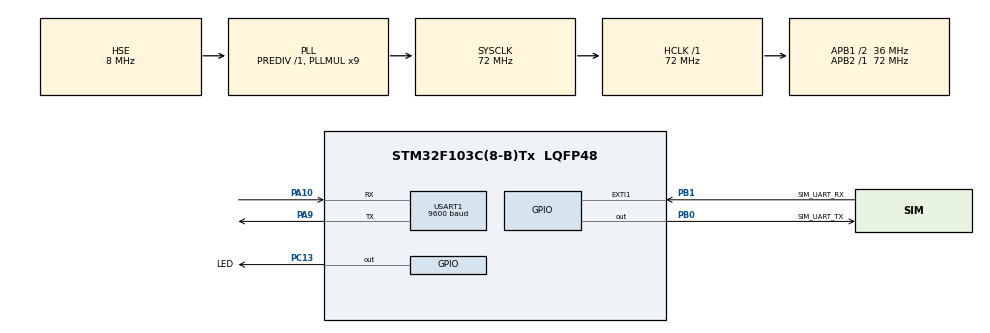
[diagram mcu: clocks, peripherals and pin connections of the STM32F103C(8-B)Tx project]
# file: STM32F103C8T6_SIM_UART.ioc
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Mcu.Family=STM32F1
Mcu.Name=STM32F103C(8-B)Tx
Mcu.Package=LQFP48
NVIC.PriorityGroup=NVIC_PRIORITYGROUP_4
NVIC.TIM4_IRQn=true\:0\:0\:false\:false\:true\:true\:true\:true
PA10.Mode=Asynchronous
PA10.Signal=USART1_RX
PA13.Mode=Serial_Wire
PA13.Signal=SYS_JTMS-SWDIO
PA14.Mode=Serial_Wire
PA14.Signal=SYS_JTCK-SWCLK
PA9.Mode=Asynchronous
PA9.Signal=USART1_TX
PB0.GPIO_Label=SIM_UART_TX
PB0.GPIO_PuPd=GPIO_PULLUP
PB0.GPIO_Speed=GPIO_SPEED_FREQ_MEDIUM
PB0.PinState=GPIO_PIN_SET
PB0.Signal=GPIO_Output
PB1.GPIO_Label=SIM_UART_RX
PB1.GPIO_PuPd=GPIO_PULLUP
PB1.Signal=GPXTI1
PC13-TAMPER-RTC.GPIO_Label=LED
PC13-TAMPER-RTC.Signal=GPIO_Output
PD0-OSC_IN.Mode=HSE-External-Oscillator
PD0-OSC_IN.Signal=RCC_OSC_IN
PD1-OSC_OUT.Mode=HSE-External-Oscillator
PD1-OSC_OUT.Signal=RCC_OSC_OUT
ProjectManager.HeapSize=0x200
ProjectManager.StackSize=0x400
ProjectManager.TargetToolchain=Makefile
RCC.AHBFreq_Value=72000000
RCC.APB1CLKDivider=RCC_HCLK_DIV2
RCC.APB1Freq_Value=36000000
RCC.APB1TimFreq_Value=72000000
RCC.APB2Freq_Value=72000000
RCC.APB2TimFreq_Value=72000000
RCC.HCLKFreq_Value=72000000
RCC.PLLMUL=RCC_PLL_MUL9
RCC.PLLSourceVirtual=RCC_PLLSOURCE_HSE
RCC.SYSCLKFreq_VALUE=72000000
RCC.SYSCLKSource=RCC_SYSCLKSOURCE_PLLCLK
RCC.USBFreq_Value=72000000
TIM4.AutoReloadPreload=TIM_AUTORELOAD_PRELOAD_ENABLE
TIM4.Period=103
TIM4.Prescaler=71
USART1.BaudRate=9600
USART1.VirtualMode=VM_ASYNC
VP_TIM4_VS_ClockSourceINT.Mode=Internal
board=custom

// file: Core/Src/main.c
/* USER CODE BEGIN Header */
/**
  ******************************************************************************
  * @file           : main.c
  * @brief          : Main program body
  ******************************************************************************
  * @attention
  *
  * Copyright (c) 2023 STMicroelectronics.
  * All rights reserved.
  *
  * This software is licensed under terms that can be found in the LICENSE file
  * in the root directory of this software component.
  * If no LICENSE file comes with this software, it is provided AS-IS.
  *
  ******************************************************************************
  */
/* USER CODE END Header */
#include "main.h"
#include "tim.h"
#include "usart.h"
#include "gpio.h"

/* USER CODE BEGIN Includes */
#include "emu_uart.h"
/* USER CODE END Includes */

void SystemClock_Config(void);

/* USER CODE BEGIN 0 */

void set_tx_pin(uint8_t v) {
	if(!v) {
		HAL_GPIO_WritePin(LED_GPIO_Port, LED_Pin, GPIO_PIN_RESET);
	} else {
		HAL_GPIO_WritePin(LED_GPIO_Port, LED_Pin, GPIO_PIN_SET);
	}
}

struct Emu_Uart_Typedef su = {
	.set_tx = set_tx_pin,
};

/* USER CODE END 0 */

int main(void)
{

  /* MCU Configuration--------------------------------------------------------*/

  /* Reset of all peripherals, Initializes the Flash interface and the Systick. */
  HAL_Init();

  /* Configure the system clock */
  SystemClock_Config();

  /* Initialize all configured peripherals */
  MX_GPIO_Init();
  MX_TIM4_Init();
  MX_USART1_UART_Init();
  /* USER CODE BEGIN 2 */
  for(int i = 0;i<7;i++) {
	HAL_GPIO_TogglePin(LED_GPIO_Port, LED_Pin);
	HAL_Delay(100);
  }

  HAL_TIM_RegisterCallback(&htim4, HAL_TIM_PERIOD_ELAPSED_CB_ID, HAL_TIM_PeriodElapsedCallback);

  HAL_TIM_Base_Start_IT(&htim4);
  /* USER CODE END 2 */

  /* Infinite loop */
  while (1)
  {

    /* USER CODE BEGIN 3 */
    const char hello[] = "hello world\r\n";
    Emu_uart_send(&su, (uint8_t *)hello, sizeof(hello));
    HAL_UART_Transmit(&huart1, (uint8_t *)hello, sizeof(hello), 1000);
    HAL_Delay(200);
  }
  /* USER CODE END 3 */
}

void SystemClock_Config(void)
{
  RCC_OscInitTypeDef RCC_OscInitStruct = {0};
  RCC_ClkInitTypeDef RCC_ClkInitStruct = {0};

  /** Initializes the RCC Oscillators according to the specified parameters
  * in the RCC_OscInitTypeDef structure.
  */
  RCC_OscInitStruct.OscillatorType = RCC_OSCILLATORTYPE_HSE;
  RCC_OscInitStruct.HSEState = RCC_HSE_ON;
  RCC_OscInitStruct.HSEPredivValue = RCC_HSE_PREDIV_DIV1;
  RCC_OscInitStruct.HSIState = RCC_HSI_ON;
  RCC_OscInitStruct.PLL.PLLState = RCC_PLL_ON;
  RCC_OscInitStruct.PLL.PLLSource = RCC_PLLSOURCE_HSE;
  RCC_OscInitStruct.PLL.PLLMUL = RCC_PLL_MUL9;
  if (HAL_RCC_OscConfig(&RCC_OscInitStruct) != HAL_OK)
  {
    Error_Handler();
  }

  /** Initializes the CPU, AHB and APB buses clocks
  */
  RCC_ClkInitStruct.ClockType = RCC_CLOCKTYPE_HCLK|RCC_CLOCKTYPE_SYSCLK
                              |RCC_CLOCKTYPE_PCLK1|RCC_CLOCKTYPE_PCLK2;
  RCC_ClkInitStruct.SYSCLKSource = RCC_SYSCLKSOURCE_PLLCLK;
  RCC_ClkInitStruct.AHBCLKDivider = RCC_SYSCLK_DIV1;
  RCC_ClkInitStruct.APB1CLKDivider = RCC_HCLK_DIV2;
  RCC_ClkInitStruct.APB2CLKDivider = RCC_HCLK_DIV1;

  if (HAL_RCC_ClockConfig(&RCC_ClkInitStruct, FLASH_LATENCY_2) != HAL_OK)
  {
    Error_Handler();
  }
}

/* USER CODE BEGIN 4 */
void HAL_TIM_PeriodElapsedCallback(TIM_HandleTypeDef *htim)
{
	if (htim->Instance == TIM4) {
		// HAL_GPIO_TogglePin(LED_GPIO_Port, LED_Pin);
		Emu_uart_tim_callback(&su);
	}
}
/* USER CODE END 4 */

void Error_Handler(void)
{
  __disable_irq();
  while (1)
  {
  }
}
